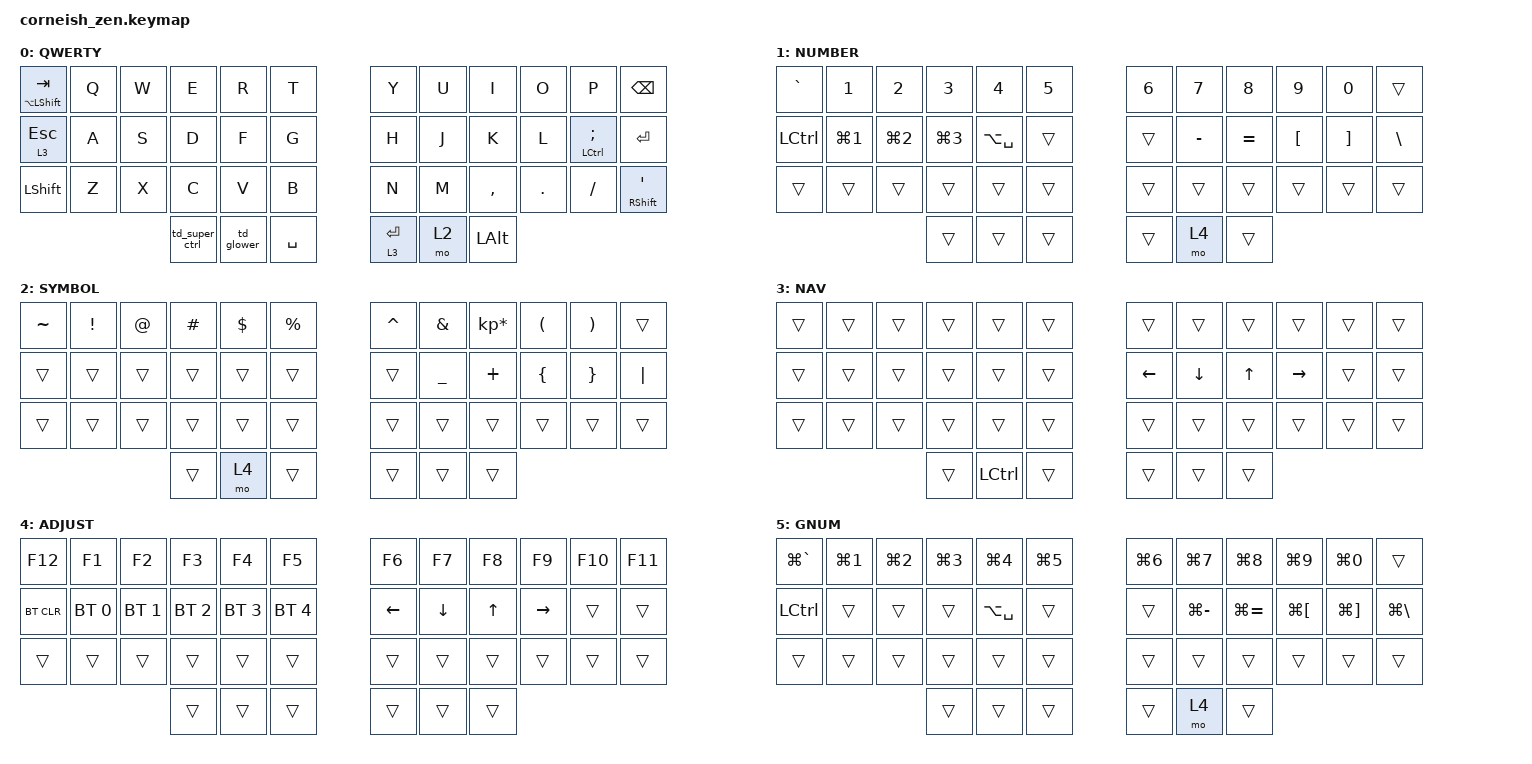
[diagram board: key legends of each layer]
#include <behaviors.dtsi>
#include <dt-bindings/zmk/bt.h>
#include <dt-bindings/zmk/keys.h>

/ {
    chosen {
        zmk,matrix_transform = &default_transform;

        //zmk,matrix_transform = &five_column_transform;
    };
};

/ {
    behaviors {
        tpmt: behavior_tp_mod_tap {
            compatible = "zmk,behavior-hold-tap";
            label = "TAP_PREFERRED_MOD_TAP";
            #binding-cells = <2>;
            flavor = "tap-preferred";
            tapping-term-ms = <200>;
            bindings = <&kp>, <&kp>;
        };

        td_super_ctrl: td_super_ctrl {
            compatible = "zmk,behavior-tap-dance";
            label = "TD_SUPER_CTRL";
            #binding-cells = <0>;
            bindings = <&kp LGUI>, <&kp LCTRL>;
        };

        td_glower: td_glower {
            compatible = "zmk,behavior-tap-dance";
            label = "TD_GLOWER";
            #binding-cells = <0>;
            bindings = <&mo 1>, <&mo 5>;
        };
    };
};

/ {
    keymap {
        compatible = "zmk,keymap";

        default_layer {
            label = "QWERTY";

            // -----------------------------------------------------------------------------------------
            // |  TAB |  Q  |  W  |  E  |  R  |  T  |   |  Y  |  U   |  I  |  O  |  P  | BKSP |
            // | CTRL |  A  |  S  |  D  |  F  |  G  |   |  H  |  J   |  K  |  L  |  ;  |  '   |
            // | SHFT |  Z  |  X  |  C  |  V  |  B  |   |  N  |  M   |  ,  |  .  |  /  | ESC  |
            //                    | GUI | LWR | SPC |   | ENT | RSE  | ALT |

            bindings = <
&tpmt LA(LEFT_SHIFT) TAB  &kp Q  &kp W  &kp E           &kp R       &kp T        &kp Y      &kp U  &kp I         &kp O    &kp P             &kp BSPC
&lt 3 ESC                 &kp A  &kp S  &kp D           &kp F       &kp G        &kp H      &kp J  &kp K         &kp L    &tpmt LCTRL SEMI  &kp RET
&kp LSHFT                 &kp Z  &kp X  &kp C           &kp V       &kp B        &kp N      &kp M  &kp COMMA     &kp DOT  &kp FSLH          &tpmt RSHIFT SQT
                                        &td_super_ctrl  &td_glower  &kp SPACE    &lt 3 RET  &mo 2  &kp LEFT_ALT
            >;
        };

        lower_layer {
            label = "NUMBER";

            // -----------------------------------------------------------------------------------------
            // |  TAB |  1  |  2  |  3  |  4  |  5  |   |  6  |  7  |  8  |  9  |  0  | BKSP |
            // | BTCLR| BT1 | BT2 | BT3 | BT4 | BT5 |   | LFT | DWN |  UP | RGT |     |      |
            // | SHFT |     |     |     |     |     |   |     |     |     |     |     |      |
            //                    | GUI |     | SPC |   | ENT |     | ALT |

            bindings = <
&kp GRAVE  &kp N1            &kp N2            &kp N3            &kp N4         &kp N5    &kp N6  &kp N7     &kp N8     &kp N9    &kp N0    &trans
&kp LCTRL  &kp LG(NUMBER_1)  &kp LG(NUMBER_2)  &kp LG(NUMBER_3)  &kp LA(SPACE)  &trans    &trans  &kp MINUS  &kp EQUAL  &kp LBKT  &kp RBKT  &kp BSLH
&trans     &trans            &trans            &trans            &trans         &trans    &trans  &trans     &trans     &trans    &trans    &trans
                                               &trans            &trans         &trans    &trans  &mo 4      &trans
            >;
        };

        raise_layer {
            label = "SYMBOL";

            // -----------------------------------------------------------------------------------------
            // |  TAB |  !  |  @  |  #  |  $  |  %  |   |  ^  |  &  |  *  |  (  |  )  | BKSP |
            // | CTRL |     |     |     |     |     |   |  -  |  =  |  [  |  ]  |  \  |  `   |
            // | SHFT |     |     |     |     |     |   |  _  |  +  |  {  |  }  | "|" |  ~   |
            //                    | GUI |     | SPC |   | ENT |     | ALT |

            bindings = <
&kp TILDE  &kp EXCL  &kp AT  &kp HASH  &kp DLLR  &kp PRCNT    &kp CARET  &kp AMPS   &kp KP_MULTIPLY  &kp LPAR  &kp RPAR  &trans
&trans     &trans    &trans  &trans    &trans    &trans       &trans     &kp UNDER  &kp PLUS         &kp LBRC  &kp RBRC  &kp PIPE
&trans     &trans    &trans  &trans    &trans    &trans       &trans     &trans     &trans           &trans    &trans    &trans
                             &trans    &mo 4     &trans       &trans     &trans     &trans
            >;
        };

        nav_layer {
            label = "NAV";

            // -----------------------------------------------------------------------------------------
            // |  TAB |  !  |  @  |  #  |  $  |  %  |   |  ^  |  &  |  *  |  (  |  )  | BKSP |
            // | CTRL |     |     |     |     |     |   |  -  |  =  |  [  |  ]  |  \  |  `   |
            // | SHFT |     |     |     |     |     |   |  _  |  +  |  {  |  }  | "|" |  ~   |
            //                    | GUI |     | SPC |   | ENT |     | ALT |

            bindings = <
&trans  &trans  &trans  &trans  &trans            &trans    &trans    &trans    &trans  &trans     &trans  &trans
&trans  &trans  &trans  &trans  &trans            &trans    &kp LEFT  &kp DOWN  &kp UP  &kp RIGHT  &trans  &trans
&trans  &trans  &trans  &trans  &trans            &trans    &trans    &trans    &trans  &trans     &trans  &trans
                        &trans  &kp LEFT_CONTROL  &trans    &trans    &trans    &trans
            >;
        };

        adjust_layer {
            label = "ADJUST";

            // -----------------------------------------------------------------------------------------
            // |  TAB |  !  |  @  |  #  |  $  |  %  |   |  ^  |  &  |  *  |  (  |  )  | BKSP |
            // | CTRL |     |     |     |     |     |   |  -  |  =  |  [  |  ]  |  \  |  `   |
            // | SHFT |     |     |     |     |     |   |  _  |  +  |  {  |  }  | "|" |  ~   |
            //                    | GUI |     | SPC |   | ENT |     | ALT |

            bindings = <
&kp F12     &kp F1        &kp F2        &kp F3        &kp F4        &kp F5          &kp F6    &kp F7    &kp F8  &kp F9     &kp F10  &kp F11
&bt BT_CLR  &bt BT_SEL 0  &bt BT_SEL 1  &bt BT_SEL 2  &bt BT_SEL 3  &bt BT_SEL 4    &kp LEFT  &kp DOWN  &kp UP  &kp RIGHT  &trans   &trans
&trans      &trans        &trans        &trans        &trans        &trans          &trans    &trans    &trans  &trans     &trans   &trans
                                        &trans        &trans        &trans          &trans    &trans    &trans
            >;
        };

        gui_lower {
            label = "GNUM";
            bindings = <
&kp LG(GRAVE)  &kp LG(N1)  &kp LG(N2)  &kp LG(N3)  &kp LG(N4)     &kp LG(N5)    &kp LG(N6)  &kp LG(N7)     &kp LG(N8)     &kp LG(N9)    &kp LG(N0)    &trans
&kp LCTRL      &trans      &trans      &trans      &kp LA(SPACE)  &trans        &trans      &kp LG(MINUS)  &kp LG(EQUAL)  &kp LG(LBKT)  &kp LG(RBKT)  &kp LG(BSLH)
&trans         &trans      &trans      &trans      &trans         &trans        &trans      &trans         &trans         &trans        &trans        &trans
                                       &trans      &trans         &trans        &trans      &mo 4          &trans
            >;
        };
    };
};
